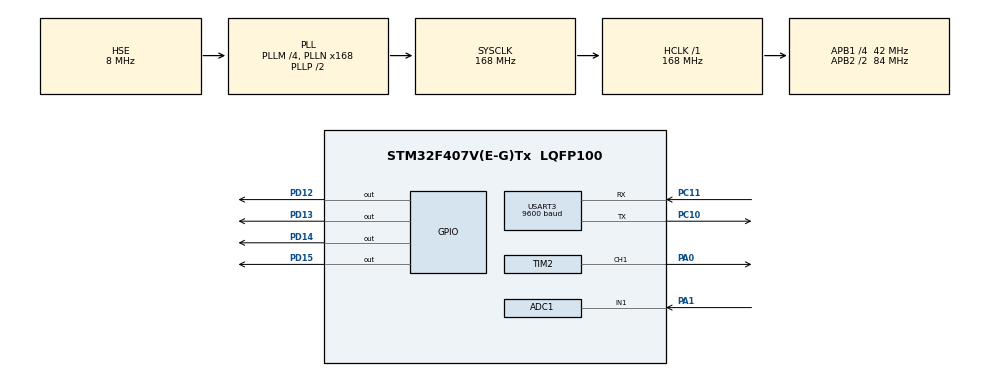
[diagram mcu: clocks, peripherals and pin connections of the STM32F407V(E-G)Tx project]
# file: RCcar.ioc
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ADC1.Channel-3\#ChannelRegularConversion=ADC_CHANNEL_1
ADC1.NbrOfConversionFlag=1
ADC1.Rank-3\#ChannelRegularConversion=1
ADC1.SamplingTime-3\#ChannelRegularConversion=ADC_SAMPLETIME_3CYCLES
ADC1.master=1
Mcu.Family=STM32F4
Mcu.Name=STM32F407V(E-G)Tx
Mcu.Package=LQFP100
NVIC.ADC_IRQn=true\:0\:0\:false\:false\:true\:true\:true
NVIC.PriorityGroup=NVIC_PRIORITYGROUP_4
NVIC.TIM2_IRQn=true\:0\:0\:false\:false\:true\:true\:true
NVIC.USART3_IRQn=true\:0\:0\:false\:false\:true\:true\:true
PA0-WKUP.Signal=S_TIM2_CH1_ETR
PA1.Signal=ADCx_IN1
PC10.Mode=Asynchronous
PC10.Signal=USART3_TX
PC11.Mode=Asynchronous
PC11.Signal=USART3_RX
PD12.Signal=GPIO_Output
PD13.Signal=GPIO_Output
PD14.Signal=GPIO_Output
PD15.Signal=GPIO_Output
PH0-OSC_IN.Mode=HSE-External-Oscillator
PH0-OSC_IN.Signal=RCC_OSC_IN
PH1-OSC_OUT.Mode=HSE-External-Oscillator
PH1-OSC_OUT.Signal=RCC_OSC_OUT
ProjectManager.HeapSize=0x200
ProjectManager.StackSize=0x400
ProjectManager.TargetToolchain=STM32CubeIDE
RCC.48MHZClocksFreq_Value=84000000
RCC.AHBFreq_Value=168000000
RCC.APB1CLKDivider=RCC_HCLK_DIV4
RCC.APB1Freq_Value=42000000
RCC.APB1TimFreq_Value=84000000
RCC.APB2CLKDivider=RCC_HCLK_DIV2
RCC.APB2Freq_Value=84000000
RCC.APB2TimFreq_Value=168000000
RCC.CortexFreq_Value=168000000
RCC.HCLKFreq_Value=168000000
RCC.HSE_VALUE=8000000
RCC.HSI_VALUE=16000000
RCC.LSE_VALUE=32768
RCC.PLLM=4
RCC.PLLN=168
RCC.PLLSourceVirtual=RCC_PLLSOURCE_HSE
RCC.SYSCLKFreq_VALUE=168000000
RCC.SYSCLKSource=RCC_SYSCLKSOURCE_PLLCLK
RCC.VCOOutputFreq_Value=336000000
SH.ADCx_IN1.0=ADC1_IN1,IN1
SH.S_TIM2_CH1_ETR.0=TIM2_CH1,PWM Generation1 CH1
TIM2.Channel-PWM\ Generation1\ CH1=TIM_CHANNEL_1
TIM2.Period=1679
TIM2.Prescaler=999
USART3.BaudRate=9600
USART3.VirtualMode=VM_ASYNC
board=custom

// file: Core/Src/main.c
/* USER CODE BEGIN Header */
/**
  ******************************************************************************
  * @file           : main.c
  * @brief          : Main program body
  ******************************************************************************
  * @attention
  *
  * <h2><center>&copy; Copyright (c) 2020 STMicroelectronics.
  * All rights reserved.</center></h2>
  *
  * This software component is licensed by ST under BSD 3-Clause license,
  * the "License"; You may not use this file except in compliance with the
  * License. You may obtain a copy of the License at:
  *                        opensource.org/licenses/BSD-3-Clause
  *
  ******************************************************************************
  */
/* USER CODE END Header */

#include "main.h"

ADC_HandleTypeDef hadc1;

TIM_HandleTypeDef htim2;

UART_HandleTypeDef huart3;

/* USER CODE BEGIN PV */
double value;// variable for reading the ADC value
double toServo;
double v1,v2;
uint8_t receiveUART[2];
uint16_t sizeReceiveUART = 2;
/* USER CODE END PV */

void SystemClock_Config(void);
static void MX_GPIO_Init(void);
static void MX_ADC1_Init(void);
static void MX_TIM2_Init(void);
static void MX_USART3_UART_Init(void);

int main(void)
{

  /* MCU Configuration--------------------------------------------------------*/

  /* Reset of all peripherals, Initializes the Flash interface and the Systick. */
  HAL_Init();

  /* Configure the system clock */
  SystemClock_Config();

  /* Initialize all configured peripherals */
  MX_GPIO_Init();
  MX_ADC1_Init();
  MX_TIM2_Init();
  MX_USART3_UART_Init();
  /* USER CODE BEGIN 2 */

  HAL_TIM_PWM_Start(&htim2, TIM_CHANNEL_1); // Start ADC in Interrupt
  /* USER CODE END 2 */

  /* Infinite loop */
  while (1)
  {

    /* USER CODE BEGIN 3 */
	  HAL_UART_Receive_IT(&huart3, receiveUART, sizeReceiveUART);
	  v1= receiveUART[0];
	  v2= receiveUART[1];
	 	  if(receiveUART[0] == 1 && receiveUART[1] < 60){
	 		 HAL_GPIO_WritePin(GPIOD,GPIO_PIN_14,GPIO_PIN_RESET);
	 		  HAL_GPIO_WritePin(GPIOD,GPIO_PIN_12,GPIO_PIN_SET);
	 	  }
	 	  else if (receiveUART[0] == 1 && receiveUART[1] > 60) {
	 		  HAL_GPIO_WritePin(GPIOD,GPIO_PIN_12,GPIO_PIN_RESET);
			  HAL_GPIO_WritePin(GPIOD,GPIO_PIN_14,GPIO_PIN_SET);
	 	  }
	 	  else if(receiveUART[0] == 2 && receiveUART[1] < 60){
	 	 	  HAL_GPIO_WritePin(GPIOD,GPIO_PIN_13,GPIO_PIN_RESET);
	 	 	  HAL_GPIO_WritePin(GPIOD,GPIO_PIN_15,GPIO_PIN_SET);
	 	  }
	 	  else if (receiveUART[0] == 2 && receiveUART[1] > 60) {
		  HAL_GPIO_WritePin(GPIOD,GPIO_PIN_15,GPIO_PIN_RESET);
		  HAL_GPIO_WritePin(GPIOD,GPIO_PIN_13,GPIO_PIN_SET);
	 	  }
	  	  else{
	  		HAL_GPIO_WritePin(GPIOD,GPIO_PIN_12,GPIO_PIN_RESET);
	  		HAL_GPIO_WritePin(GPIOD,GPIO_PIN_14,GPIO_PIN_RESET);
	      HAL_GPIO_WritePin(GPIOD,GPIO_PIN_13,GPIO_PIN_RESET);
	      HAL_GPIO_WritePin(GPIOD,GPIO_PIN_15,GPIO_PIN_RESET);
	 	  }
	  HAL_ADC_Start(&hadc1);

	  if(HAL_ADC_PollForConversion(&hadc1, 10) == HAL_OK)
	  	  		{
	  	  			value = HAL_ADC_GetValue(&hadc1);
	  	  			toServo = (value / 68.25) + 90;
	  	  			htim2.Instance->CCR1 = toServo;
	  	  		}
  }
  /* USER CODE END 3 */
}

void SystemClock_Config(void)
{
  RCC_OscInitTypeDef RCC_OscInitStruct = {0};
  RCC_ClkInitTypeDef RCC_ClkInitStruct = {0};

  /** Configure the main internal regulator output voltage
  */
  __HAL_RCC_PWR_CLK_ENABLE();
  __HAL_PWR_VOLTAGESCALING_CONFIG(PWR_REGULATOR_VOLTAGE_SCALE1);
  /** Initializes the CPU, AHB and APB busses clocks
  */
  RCC_OscInitStruct.OscillatorType = RCC_OSCILLATORTYPE_HSE;
  RCC_OscInitStruct.HSEState = RCC_HSE_ON;
  RCC_OscInitStruct.PLL.PLLState = RCC_PLL_ON;
  RCC_OscInitStruct.PLL.PLLSource = RCC_PLLSOURCE_HSE;
  RCC_OscInitStruct.PLL.PLLM = 4;
  RCC_OscInitStruct.PLL.PLLN = 168;
  RCC_OscInitStruct.PLL.PLLP = RCC_PLLP_DIV2;
  RCC_OscInitStruct.PLL.PLLQ = 4;
  if (HAL_RCC_OscConfig(&RCC_OscInitStruct) != HAL_OK)
  {
    Error_Handler();
  }
  /** Initializes the CPU, AHB and APB busses clocks
  */
  RCC_ClkInitStruct.ClockType = RCC_CLOCKTYPE_HCLK|RCC_CLOCKTYPE_SYSCLK
                              |RCC_CLOCKTYPE_PCLK1|RCC_CLOCKTYPE_PCLK2;
  RCC_ClkInitStruct.SYSCLKSource = RCC_SYSCLKSOURCE_PLLCLK;
  RCC_ClkInitStruct.AHBCLKDivider = RCC_SYSCLK_DIV1;
  RCC_ClkInitStruct.APB1CLKDivider = RCC_HCLK_DIV4;
  RCC_ClkInitStruct.APB2CLKDivider = RCC_HCLK_DIV2;

  if (HAL_RCC_ClockConfig(&RCC_ClkInitStruct, FLASH_LATENCY_5) != HAL_OK)
  {
    Error_Handler();
  }
}

static void MX_ADC1_Init(void)
{

  ADC_ChannelConfTypeDef sConfig = {0};

  /** Configure the global features of the ADC (Clock, Resolution, Data Alignment and number of conversion)
  */
  hadc1.Instance = ADC1;
  hadc1.Init.ClockPrescaler = ADC_CLOCK_SYNC_PCLK_DIV4;
  hadc1.Init.Resolution = ADC_RESOLUTION_12B;
  hadc1.Init.ScanConvMode = DISABLE;
  hadc1.Init.ContinuousConvMode = DISABLE;
  hadc1.Init.DiscontinuousConvMode = DISABLE;
  hadc1.Init.ExternalTrigConvEdge = ADC_EXTERNALTRIGCONVEDGE_NONE;
  hadc1.Init.ExternalTrigConv = ADC_SOFTWARE_START;
  hadc1.Init.DataAlign = ADC_DATAALIGN_RIGHT;
  hadc1.Init.NbrOfConversion = 1;
  hadc1.Init.DMAContinuousRequests = DISABLE;
  hadc1.Init.EOCSelection = ADC_EOC_SINGLE_CONV;
  if (HAL_ADC_Init(&hadc1) != HAL_OK)
  {
    Error_Handler();
  }
  /** Configure for the selected ADC regular channel its corresponding rank in the sequencer and its sample time.
  */
  sConfig.Channel = ADC_CHANNEL_1;
  sConfig.Rank = 1;
  sConfig.SamplingTime = ADC_SAMPLETIME_3CYCLES;
  if (HAL_ADC_ConfigChannel(&hadc1, &sConfig) != HAL_OK)
  {
    Error_Handler();
  }

}

static void MX_TIM2_Init(void)
{

  TIM_MasterConfigTypeDef sMasterConfig = {0};
  TIM_OC_InitTypeDef sConfigOC = {0};

  htim2.Instance = TIM2;
  htim2.Init.Prescaler = 999;
  htim2.Init.CounterMode = TIM_COUNTERMODE_UP;
  htim2.Init.Period = 1679;
  htim2.Init.ClockDivision = TIM_CLOCKDIVISION_DIV1;
  htim2.Init.AutoReloadPreload = TIM_AUTORELOAD_PRELOAD_DISABLE;
  if (HAL_TIM_PWM_Init(&htim2) != HAL_OK)
  {
    Error_Handler();
  }
  sMasterConfig.MasterOutputTrigger = TIM_TRGO_RESET;
  sMasterConfig.MasterSlaveMode = TIM_MASTERSLAVEMODE_DISABLE;
  if (HAL_TIMEx_MasterConfigSynchronization(&htim2, &sMasterConfig) != HAL_OK)
  {
    Error_Handler();
  }
  sConfigOC.OCMode = TIM_OCMODE_PWM1;
  sConfigOC.Pulse = 0;
  sConfigOC.OCPolarity = TIM_OCPOLARITY_HIGH;
  sConfigOC.OCFastMode = TIM_OCFAST_DISABLE;
  if (HAL_TIM_PWM_ConfigChannel(&htim2, &sConfigOC, TIM_CHANNEL_1) != HAL_OK)
  {
    Error_Handler();
  }
  HAL_TIM_MspPostInit(&htim2);

}

static void MX_USART3_UART_Init(void)
{

  huart3.Instance = USART3;
  huart3.Init.BaudRate = 9600;
  huart3.Init.WordLength = UART_WORDLENGTH_8B;
  huart3.Init.StopBits = UART_STOPBITS_1;
  huart3.Init.Parity = UART_PARITY_NONE;
  huart3.Init.Mode = UART_MODE_TX_RX;
  huart3.Init.HwFlowCtl = UART_HWCONTROL_NONE;
  huart3.Init.OverSampling = UART_OVERSAMPLING_16;
  if (HAL_UART_Init(&huart3) != HAL_OK)
  {
    Error_Handler();
  }

}

static void MX_GPIO_Init(void)
{
  GPIO_InitTypeDef GPIO_InitStruct = {0};

  /* GPIO Ports Clock Enable */
  __HAL_RCC_GPIOH_CLK_ENABLE();
  __HAL_RCC_GPIOA_CLK_ENABLE();
  __HAL_RCC_GPIOD_CLK_ENABLE();
  __HAL_RCC_GPIOC_CLK_ENABLE();

  /*Configure GPIO pin Output Level */
  HAL_GPIO_WritePin(GPIOD, GPIO_PIN_12|GPIO_PIN_13|GPIO_PIN_14|GPIO_PIN_15, GPIO_PIN_RESET);

  /*Configure GPIO pins : PD12 PD13 PD14 PD15 */
  GPIO_InitStruct.Pin = GPIO_PIN_12|GPIO_PIN_13|GPIO_PIN_14|GPIO_PIN_15;
  GPIO_InitStruct.Mode = GPIO_MODE_OUTPUT_PP;
  GPIO_InitStruct.Pull = GPIO_NOPULL;
  GPIO_InitStruct.Speed = GPIO_SPEED_FREQ_LOW;
  HAL_GPIO_Init(GPIOD, &GPIO_InitStruct);

}

void Error_Handler(void)
{
}

/************************ (C) COPYRIGHT STMicroelectronics *****END OF FILE****/
